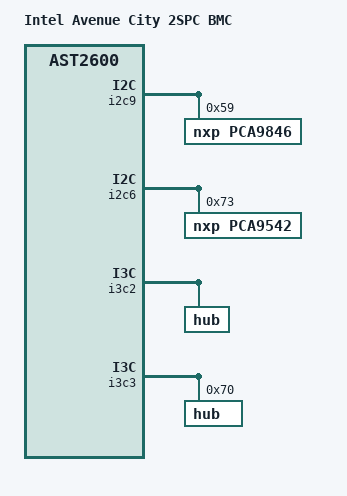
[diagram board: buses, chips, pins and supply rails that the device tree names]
// SPDX-License-Identifier: GPL-2.0
/dts-v1/;

#include "aspeed-bmc-intel-bhs.dtsi"

/ {
	model = "Intel Avenue City 2SPC BMC";
	compatible = "intel,avc-2s-bmc", "aspeed,ast2600";

	aliases {
		i2c16 = &i2c6_mux_ch0;
		i2c17 = &i2c6_mux_ch1;
		i2c18 = &i2c9_mux_ch0;
	};
};

&mac3 {
	/* OCP NIC is not supported by AVC 2SPC platforms */
	status = "disabled";
};

&i2c9 {
	/*
	 * WA - fix channel numbers for downstream mux channels
	 */
	pca9846@59 {
		compatible = "nxp,pca9846";
		reg = <0x59>;
		i2c9_mux_ch0: i2c@0 {
			reg = <0>;
		};
	};
};

&i2c6 {
	/*
	 * W/A: add SMBUS MUX via device tree instead of entity-manager
	 * to assign fixed numbers for buses behind MUX which can be referred
	 * later in platform configuration
	 */
	pca9542@73 {
		compatible = "nxp,pca9542";
		reg = <0x73>;

		i2c6_mux_ch0: i2c@0 {
			reg = <0>;
		};

		i2c6_mux_ch1: i2c@1 {
			reg = <1>;
		};
	};
};

&i3c2 {
	/* I3C_MNG_LVC18 */
	i3c-scl-hz = <7140000>;
	i3c-pp-scl-high-ns = <60>;
	sda-tx-hold-ns = <30>;

	hub@0,0 {
		cp0-ldo = "disabled";
		cp1-ldo = "disabled";
		tp0145-ldo = "disabled";
		tp2367-ldo = "disabled";
		tp0145-pullup = "2k";
		tp2367-pullup = "2k";

		target-port@0 {
			mode = "i3c";
			pullup = "enabled";
		};
		target-port@1 {
			mode = "disabled";
			pullup = "enabled";
		};
		target-port@2 {
			mode = "i3c";
			pullup = "enabled";
		};
		target-port@3 {
			mode = "disabled";
			pullup = "enabled";
		};
		target-port@4 {
			mode = "disabled";
			pullup = "enabled";
		};
		target-port@5 {
			mode = "disabled";
			pullup = "enabled";
		};
		target-port@6 {
			mode = "disabled";
			pullup = "enabled";
		};
		target-port@7 {
			mode = "disabled";
			pullup = "enabled";
		};
	};
};

&i3c3 {
	/* I3C_SPD_BMC */
	i3c-scl-hz = <6000000>;

	/* Renesas RG3MxxB12A0 */
	hub@70,3C000000100 {
		reg = <0x70 0x3C0 0x00000100>;
		assigned-address = <0x70>;
		dcr = <0xC2>;

		cp0-ldo = "disabled";
		cp1-ldo = "disabled";
		tp0145-ldo = "disabled";
		tp2367-ldo = "disabled";
		tp0145-pullup = "2k";
		tp2367-pullup = "2k";

		target-port@0 {
			mode = "i3c";
			pullup = "enabled";
		};
		target-port@1 {
			mode = "i3c";
			pullup = "enabled";
		};
		target-port@2 {
			mode = "i3c";
			pullup = "enabled";
		};
		target-port@3 {
			mode = "i3c";
			pullup = "enabled";
		};
		target-port@4 {
			mode = "i3c";
			pullup = "enabled";
		};
		target-port@5 {
			mode = "i3c";
			pullup = "enabled";
		};
		target-port@6 {
			mode = "i3c";
			pullup = "enabled";
		};
		target-port@7 {
			mode = "i3c";
			pullup = "enabled";
		};

		i3c0@01 {
			jdec-spd;
			/* Renesas SPD5118 */
			spd@50,3C000000000 {
				reg = <0x50 0x3C0 0x00000000>;
				assigned-address = <0x50>;
			};
			/* Renesas SPD5118 */
			spd@51,3C000000001 {
				reg = <0x51 0x3C0 0x00000001>;
				assigned-address = <0x51>;
			};
			/* Renesas SPD5118 */
			spd@52,3C000000002 {
				reg = <0x52 0x3C0 0x00000002>;
				assigned-address = <0x52>;
			};
			/* Renesas SPD5118 */
			spd@53,3C000000003 {
				reg = <0x53 0x3C0 0x00000003>;
				assigned-address = <0x53>;
			};
			/* Renesas SPD5118 */
			spd@54,3C000000004 {
				reg = <0x54 0x3C0 0x00000004>;
				assigned-address = <0x54>;
			};
			/* Renesas SPD5118 */
			spd@55,3C000000005 {
				reg = <0x55 0x3C0 0x00000005>;
				assigned-address = <0x55>;
			};
		};
		i3c1@02 {
			jdec-spd;
			/* Renesas SPD5118 */
			spd@50,3C000000000 {
				reg = <0x50 0x3C0 0x00000000>;
				assigned-address = <0x50>;
			};
			/* Renesas SPD5118 */
			spd@51,3C000000001 {
				reg = <0x51 0x3C0 0x00000001>;
				assigned-address = <0x51>;
			};
			/* Renesas SPD5118 */
			spd@52,3C000000002 {
				reg = <0x52 0x3C0 0x00000002>;
				assigned-address = <0x52>;
			};
			/* Renesas SPD5118 */
			spd@53,3C000000003 {
				reg = <0x53 0x3C0 0x00000003>;
				assigned-address = <0x53>;
			};
			/* Renesas SPD5118 */
			spd@54,3C000000004 {
				reg = <0x54 0x3C0 0x00000004>;
				assigned-address = <0x54>;
			};
			/* Renesas SPD5118 */
			spd@55,3C000000005 {
				reg = <0x55 0x3C0 0x00000005>;
				assigned-address = <0x55>;
			};
		};
		i3c2@10 {
			jdec-spd;
			/* Renesas SPD5118 */
			spd@50,3C000000000 {
				reg = <0x50 0x3C0 0x00000000>;
				assigned-address = <0x50>;
			};
			/* Renesas SPD5118 */
			spd@51,3C000000001 {
				reg = <0x51 0x3C0 0x00000001>;
				assigned-address = <0x51>;
			};
			/* Renesas SPD5118 */
			spd@52,3C000000002 {
				reg = <0x52 0x3C0 0x00000002>;
				assigned-address = <0x52>;
			};
			/* Renesas SPD5118 */
			spd@53,3C000000003 {
				reg = <0x53 0x3C0 0x00000003>;
				assigned-address = <0x53>;
			};
			/* Renesas SPD5118 */
			spd@54,3C000000004 {
				reg = <0x54 0x3C0 0x00000004>;
				assigned-address = <0x54>;
			};
			/* Renesas SPD5118 */
			spd@55,3C000000005 {
				reg = <0x55 0x3C0 0x00000005>;
				assigned-address = <0x55>;
			};
		};
		i3c3@20 {
			jdec-spd;
			/* Renesas SPD5118 */
			spd@50,3C000000000 {
				reg = <0x50 0x3C0 0x00000000>;
				assigned-address = <0x50>;
			};
			/* Renesas SPD5118 */
			spd@51,3C000000001 {
				reg = <0x51 0x3C0 0x00000001>;
				assigned-address = <0x51>;
			};
			/* Renesas SPD5118 */
			spd@52,3C000000002 {
				reg = <0x52 0x3C0 0x00000002>;
				assigned-address = <0x52>;
			};
			/* Renesas SPD5118 */
			spd@53,3C000000003 {
				reg = <0x53 0x3C0 0x00000003>;
				assigned-address = <0x53>;
			};
			/* Renesas SPD5118 */
			spd@54,3C000000004 {
				reg = <0x54 0x3C0 0x00000004>;
				assigned-address = <0x54>;
			};
			/* Renesas SPD5118 */
			spd@55,3C000000005 {
				reg = <0x55 0x3C0 0x00000005>;
				assigned-address = <0x55>;
			};
		};
		i3c4@04 {
			jdec-spd;
			/* Renesas SPD5118 */
			spd@50,3C000000000 {
				reg = <0x50 0x3C0 0x00000000>;
				assigned-address = <0x50>;
			};
			/* Renesas SPD5118 */
			spd@51,3C000000001 {
				reg = <0x51 0x3C0 0x00000001>;
				assigned-address = <0x51>;
			};
			/* Renesas SPD5118 */
			spd@52,3C000000002 {
				reg = <0x52 0x3C0 0x00000002>;
				assigned-address = <0x52>;
			};
			/* Renesas SPD5118 */
			spd@53,3C000000003 {
				reg = <0x53 0x3C0 0x00000003>;
				assigned-address = <0x53>;
			};
			/* Renesas SPD5118 */
			spd@54,3C000000004 {
				reg = <0x54 0x3C0 0x00000004>;
				assigned-address = <0x54>;
			};
			/* Renesas SPD5118 */
			spd@55,3C000000005 {
				reg = <0x55 0x3C0 0x00000005>;
				assigned-address = <0x55>;
			};
		};
		i3c5@08 {
			jdec-spd;
			/* Renesas SPD5118 */
			spd@50,3C000000000 {
				reg = <0x50 0x3C0 0x00000000>;
				assigned-address = <0x50>;
			};
			/* Renesas SPD5118 */
			spd@51,3C000000001 {
				reg = <0x51 0x3C0 0x00000001>;
				assigned-address = <0x51>;
			};
			/* Renesas SPD5118 */
			spd@52,3C000000002 {
				reg = <0x52 0x3C0 0x00000002>;
				assigned-address = <0x52>;
			};
			/* Renesas SPD5118 */
			spd@53,3C000000003 {
				reg = <0x53 0x3C0 0x00000003>;
				assigned-address = <0x53>;
			};
			/* Renesas SPD5118 */
			spd@54,3C000000004 {
				reg = <0x54 0x3C0 0x00000004>;
				assigned-address = <0x54>;
			};
			/* Renesas SPD5118 */
			spd@55,3C000000005 {
				reg = <0x55 0x3C0 0x00000005>;
				assigned-address = <0x55>;
			};
		};
		i3c6@40 {
			jdec-spd;
			/* Renesas SPD5118 */
			spd@50,3C000000000 {
				reg = <0x50 0x3C0 0x00000000>;
				assigned-address = <0x50>;
			};
			/* Renesas SPD5118 */
			spd@51,3C000000001 {
				reg = <0x51 0x3C0 0x00000001>;
				assigned-address = <0x51>;
			};
			/* Renesas SPD5118 */
			spd@52,3C000000002 {
				reg = <0x52 0x3C0 0x00000002>;
				assigned-address = <0x52>;
			};
			/* Renesas SPD5118 */
			spd@53,3C000000003 {
				reg = <0x53 0x3C0 0x00000003>;
				assigned-address = <0x53>;
			};
			/* Renesas SPD5118 */
			spd@54,3C000000004 {
				reg = <0x54 0x3C0 0x00000004>;
				assigned-address = <0x54>;
			};
			/* Renesas SPD5118 */
			spd@55,3C000000005 {
				reg = <0x55 0x3C0 0x00000005>;
				assigned-address = <0x55>;
			};
		};
		i3c7@80 {
			jdec-spd;
			/* Renesas SPD5118 */
			spd@50,3C000000000 {
				reg = <0x50 0x3C0 0x00000000>;
				assigned-address = <0x50>;
			};
			/* Renesas SPD5118 */
			spd@51,3C000000001 {
				reg = <0x51 0x3C0 0x00000001>;
				assigned-address = <0x51>;
			};
			/* Renesas SPD5118 */
			spd@52,3C000000002 {
				reg = <0x52 0x3C0 0x00000002>;
				assigned-address = <0x52>;
			};
			/* Renesas SPD5118 */
			spd@53,3C000000003 {
				reg = <0x53 0x3C0 0x00000003>;
				assigned-address = <0x53>;
			};
			/* Renesas SPD5118 */
			spd@54,3C000000004 {
				reg = <0x54 0x3C0 0x00000004>;
				assigned-address = <0x54>;
			};
			/* Renesas SPD5118 */
			spd@55,3C000000005 {
				reg = <0x55 0x3C0 0x00000005>;
				assigned-address = <0x55>;
			};
		};
	};
};
